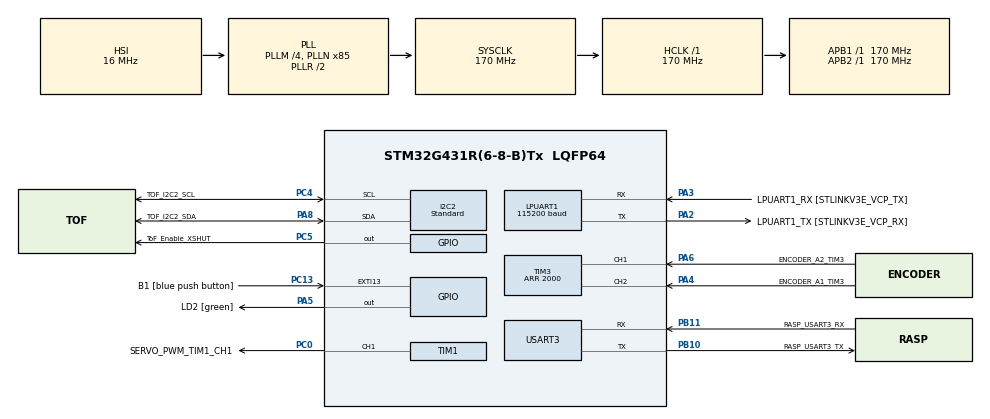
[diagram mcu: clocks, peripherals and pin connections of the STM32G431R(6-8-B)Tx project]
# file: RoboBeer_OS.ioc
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FREERTOS.MEMORY_ALLOCATION=0
FREERTOS.Tasks01=defaultTask,0,128,StartDefaultTask,Default,NULL,Dynamic,NULL,NULL
FREERTOS.configCHECK_FOR_STACK_OVERFLOW=0
FREERTOS.configLIBRARY_MAX_SYSCALL_INTERRUPT_PRIORITY=8
FREERTOS.configMAX_TASK_NAME_LEN=32
FREERTOS.configMINIMAL_STACK_SIZE=128
FREERTOS.configTOTAL_HEAP_SIZE=16384
I2C2.I2C_Speed_Mode=I2C_Standard
I2C2.Timing=0x30A0A7FB
LPUART1.BaudRate=115200
LPUART1.WordLength=UART_WORDLENGTH_8B
Mcu.Family=STM32G4
Mcu.Name=STM32G431R(6-8-B)Tx
Mcu.Package=LQFP64
NVIC.LPUART1_IRQn=true\:8\:0\:false\:false\:true\:true\:true\:true\:true
NVIC.PriorityGroup=NVIC_PRIORITYGROUP_4
NVIC.USART3_IRQn=true\:8\:0\:false\:false\:true\:true\:true\:true\:true
PA13.GPIO_Label=T_SWDIO
PA13.Mode=Serial_Wire
PA13.Signal=SYS_JTMS-SWDIO
PA14.GPIO_Label=T_SWCLK
PA14.Mode=Serial_Wire
PA14.Signal=SYS_JTCK-SWCLK
PA2.GPIO_Label=LPUART1_TX [STLINKV3E_VCP_RX]
PA2.Mode=Asynchronous
PA2.Signal=LPUART1_TX
PA3.GPIO_Label=LPUART1_RX [STLINKV3E_VCP_TX]
PA3.Mode=Asynchronous
PA3.Signal=LPUART1_RX
PA4.GPIO_Label=ENCODER_A1_TIM3
PA4.Signal=S_TIM3_CH2
PA5.GPIO_Label=LD2 [green]
PA5.Signal=GPIO_Output
PA6.GPIO_Label=ENCODER_A2_TIM3
PA6.Signal=S_TIM3_CH1
PA8.GPIO_Label=TOF_I2C2_SDA
PA8.Mode=I2C
PA8.Signal=I2C2_SDA
PB10.GPIO_Label=RASP_USART3_TX
PB10.Mode=Asynchronous
PB10.Signal=USART3_TX
PB11.GPIO_Label=RASP_USART3_RX
PB11.Mode=Asynchronous
PB11.Signal=USART3_RX
PB3.GPIO_Label=T_SWO
PB3.Signal=SYS_JTDO-SWO
PC0.GPIO_Label=SERVO_PWM_TIM1_CH1
PC0.Signal=S_TIM1_CH1
PC13.GPIO_Label=B1 [blue push button]
PC13.Signal=GPXTI13
PC14-OSC32_IN.Mode=LSE-External-Oscillator
PC14-OSC32_IN.Signal=RCC_OSC32_IN
PC15-OSC32_OUT.Mode=LSE-External-Oscillator
PC15-OSC32_OUT.Signal=RCC_OSC32_OUT
PC4.GPIO_Label=TOF_I2C2_SCL
PC4.Mode=I2C
PC4.Signal=I2C2_SCL
PC5.GPIO_Label=ToF_Enable_XSHUT
PC5.Signal=GPIO_Output
PF0-OSC_IN.Mode=HSE-External-Oscillator
PF0-OSC_IN.Signal=RCC_OSC_IN
PF1-OSC_OUT.Mode=HSE-External-Oscillator
PF1-OSC_OUT.Signal=RCC_OSC_OUT
ProjectManager.HeapSize=0x200
ProjectManager.StackSize=0x400
ProjectManager.TargetToolchain=STM32CubeIDE
RCC.ADC12Freq_Value=170000000
RCC.AHBFreq_Value=170000000
RCC.APB1Freq_Value=170000000
RCC.APB1TimFreq_Value=170000000
RCC.APB2Freq_Value=170000000
RCC.APB2TimFreq_Value=170000000
RCC.CortexFreq_Value=170000000
RCC.EXTERNAL_CLOCK_VALUE=12288000
RCC.HCLKFreq_Value=170000000
RCC.HSE_VALUE=24000000
RCC.HSI48_VALUE=48000000
RCC.HSI_VALUE=16000000
RCC.PLLM=RCC_PLLM_DIV4
RCC.PLLN=85
RCC.RTCClockSelection=RCC_RTCCLKSOURCE_LSE
RCC.SYSCLKFreq_VALUE=170000000
RCC.SYSCLKSource=RCC_SYSCLKSOURCE_PLLCLK
RCC.USBFreq_Value=170000000
RCC.VCOOutputFreq_Value=340000000
SH.S_TIM1_CH1.0=TIM1_CH1,PWM Generation1 CH1
SH.S_TIM3_CH1.0=TIM3_CH1,Encoder_Interface
SH.S_TIM3_CH2.0=TIM3_CH2,Encoder_Interface
TIM1.Channel-PWM\ Generation1\ CH1=TIM_CHANNEL_1
TIM1.PeriodNoDither=20000-1
TIM1.Prescaler=170-1
TIM3.EncoderMode=TIM_ENCODERMODE_TI12
TIM3.PeriodNoDither=2000
USART3.VirtualMode-Asynchronous=VM_ASYNC
VP_FREERTOS_VS_CMSIS_V1.Mode=CMSIS_V1
VP_SYS_VS_DBSignals.Mode=DisableDeadBatterySignals
VP_TIM1_VS_ClockSourceINT.Mode=Internal
VP_TIM2_VS_ClockSourceINT.Mode=Internal
board=NUCLEO-G431RB

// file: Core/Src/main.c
/* USER CODE BEGIN Header */
/**
  ******************************************************************************
  * @file           : main.c
  * @brief          : Main program body
  ******************************************************************************
  * @attention
  *
  * Copyright (c) 2022 STMicroelectronics.
  * All rights reserved.
  *
  * This software is licensed under terms that can be found in the LICENSE file
  * in the root directory of this software component.
  * If no LICENSE file comes with this software, it is provided AS-IS.
  *
  ******************************************************************************
  */
/* USER CODE END Header */
#include "main.h"
#include "cmsis_os.h"
#include "i2c.h"
#include "usart.h"
#include "tim.h"
#include "gpio.h"

/* USER CODE BEGIN Includes */
#include <FreeRTOS.h>
#include <stdio.h>
#include <stdlib.h>
#include <string.h>
#include "driver_ToF.h"
/* USER CODE END Includes */

/* USER CODE BEGIN PD */

#define STACK_SIZE 1000
#define MAX_S_Time 300

#define DELAY_1 10
#define DELAY_2 10
#define DELAY_3 50
#define DELAY_4 20

#define Code_Priority 2
#define PRIORITY_ENCODER 5
#define PRIORITY_TOF 7
#define PRIORITY_RASP 3
#define PRIORITY_SERVO 1

#define SERVO_OPEN 500
#define SERVO_CLOSED 2500

#define RASP_UART_TO 300
/* USER CODE END PD */

/* USER CODE BEGIN PV */

BaseType_t xReturned;
TaskHandle_t xHandle1 = NULL;
TaskHandle_t xHandle2 = NULL;

/*
 * These are the private variables for the Encoder
 */
BaseType_t xReturned_Encoder;
TaskHandle_t xHandle_Encoder = NULL;

/*
 * These are the private variables for the TOF
 */
BaseType_t xReturned_TofGetDistance;
TaskHandle_t xHandle_TofGetDistance = NULL;

int it_tim3=0;
uint16_t servo_angle=0;

BaseType_t xReturned_RASP;
TaskHandle_t xHandle_RASP = NULL;
SemaphoreHandle_t semaphoreRASP;

BaseType_t xReturned_ControlServo;
TaskHandle_t xHandle_ControlServo = NULL;

/* USER CODE END PV */

void SystemClock_Config(void);
void MX_FREERTOS_Init(void);
/* USER CODE BEGIN PFP */

/*Normal functions*/
void ControlServo(int angle);

/*Task Functions*/
void codeTache (void * pvParameters);
void GetEncoderValue(void * pvParameters);
void TofGetDistance(void * pvParameters);
void RaspRead (void * pvParameters);

/* USER CODE END PFP */

/* USER CODE BEGIN 0 */

/**
  * @brief  Period elapsed callback in non-blocking mode
  * @param  htim TIM handle
  * @retval None
  */
void HAL_TIM_PeriodElapsedCallback(TIM_HandleTypeDef *htim)
{
	if (htim->Instance == htim3.Instance) {
		it_tim3=1;
	}
}

int __io_putchar(int ch) {
	HAL_UART_Transmit(&hlpuart1, (uint8_t *)&ch, 1, MAX_S_Time);
	return ch;
}

void codeTache (void * pvParameters) {
	int compteur = 0;
	int duree = (int) pvParameters;
	char* s = pcTaskGetName(xTaskGetCurrentTaskHandle());
	while (1) {
		printf("Je suis la tache %s et je m'endors pour %d periodes\n", s, duree);
		vTaskDelay(duree);
		compteur++;
	}
}

/*
 * Task taht would go get the TOF value.
 * Send it via UART or printf
 * Task Delay of DELAY_TOF
 */
void TofGetDistance(void * pvParameters)
{
	printf("Ici init TOF\r\n");
	int distance;
	int duree = (int) pvParameters;
	while(1){
		distance = tofReadDistance();//scan
		printf("distance : %d\r\n", distance);
		if (distance <60){
			ControlServo(SERVO_OPEN);
		}else{
			ControlServo(SERVO_CLOSED);
		}
		vTaskDelay(duree);
	}
}

/*
 * Task that would go get the encoder value from the counter of the TIM3.
 * Transmit value via UART
 * Task Delay 1 OS tick = 1ms.
 * */
void GetEncoderValue(void * pvParameters){
	printf("Ici init Encodeur\r\n");
	uint16_t angle;
	int duree = (int) pvParameters;
	while(1){
		angle = (TIM3->CNT);
		printf("Encoder Ticks = %d\n\r", angle);
		vTaskDelay(duree);
	}
}

/*
 * Function to control the servo motor
 */
void ControlServo(int angle){
	TIM1 -> CCR1 = angle;
	it_tim3=0;
}

void RaspRead (void * pvParameters) {
	uint8_t MSG_Buffer[200] = {'\0'};
	int duree = (int) pvParameters;
	while (1) {
		xSemaphoreTake(semaphoreRASP,RASP_UART_TO);
		HAL_UART_Receive(&huart3, MSG_Buffer, sizeof(MSG_Buffer),RASP_UART_TO);
		printf("%s\r\n", MSG_Buffer);
		xSemaphoreGive(semaphoreRASP);
		vTaskDelay(duree);
	}
}

/* USER CODE END 0 */

int main(void)
{

  /* MCU Configuration--------------------------------------------------------*/

  /* Reset of all peripherals, Initializes the Flash interface and the Systick. */
  HAL_Init();

  /* Configure the system clock */
  SystemClock_Config();

  /* Initialize all configured peripherals */
  MX_GPIO_Init();
  MX_LPUART1_UART_Init();
  MX_I2C2_Init();
  MX_TIM3_Init();
  MX_TIM2_Init();
  MX_USART3_UART_Init();
  MX_TIM1_Init();
  /* USER CODE BEGIN 2 */
  HAL_TIM_PWM_Start(&htim1, TIM_CHANNEL_1);
  HAL_TIM_Encoder_Start(&htim3, TIM_CHANNEL_ALL);
  initTof();

  /* Create the task, storing the handle. */
  /*
  printf("1 \r\n");
  xReturned_Encoder = xTaskCreate(
		  GetEncoderValue, 				// Function that implements the task.
		  "Encodeur", 					// Text name for the task.
		  STACK_SIZE, 					// Stack size in words, not bytes.
		  (void *) DELAY_1, 			// Parameter passed into the task.
		  PRIORITY_ENCODER,				// Priority at which the task is created.
		  &xHandle_Encoder ); 			// Used to pass out the created task's handle.

  if (xReturned_Encoder == pdPASS ){
	  printf("Task GetEncoderValue created \r\n");
  } else{
		printf("ERROR GetEncoderValue not created \r\n");
		while(1){}
  }

*/

  printf("2 \r\n");
  xReturned_TofGetDistance = xTaskCreate(
		  TofGetDistance, 				// Function that implements the task.
		  "TOF", 						// Text name for the task.
		  STACK_SIZE, 					// Stack size in words, not bytes.
		  (void *) DELAY_2, 			// Parameter passed into the task.
		  PRIORITY_TOF,					// Priority at which the task is created.
		  &xHandle_TofGetDistance );	// Used to pass out the created task's handle.

  if(xReturned_TofGetDistance == pdPASS){
	  printf("Task TofGetDistance created \r\n");
  } else{
	printf("ERROR TofGetDistance NOT created \r\n");
	while(1){}
  }

/*
  xReturned_ControlServo = xTaskCreate(
		  ControlServo, 				// Function that implements the task.
		  "ServoMotor", 						// Text name for the task.
		  STACK_SIZE, 					// Stack size in words, not bytes.
		  (int *) servo_angle, 			// Parameter passed into the task.
		  PRIORITY_SERVO,					// Priority at which the task is created.
		  &xHandle_ControlServo );	// Used to pass out the created task's handle.

  if(xReturned_ControlServo == pdPASS){
	  printf("Task ControlServo created \r\n");
  } else{
	printf("ERROR ControlServo NOT created \r\n");
	while(1){}
  }
 */

  semaphoreRASP = xSemaphoreCreateBinary();
  xSemaphoreGive(semaphoreRASP);

  /*
  printf("3 \r\n");
  xReturned_RASP = xTaskCreate(
		  RaspRead, 					// Function that implements the task.
		  "Raspberry", 					// Text name for the task.
		  STACK_SIZE, 					// Stack size in words, not bytes.
		  (void *) DELAY_3, 			// Parameter passed into the task.
		  PRIORITY_RASP,				// Priority at which the task is created.
		  &xHandle_RASP ); 				// Used to pass out the created task's handle.

  if (xReturned_RASP == pdPASS ){
	  printf("Task RaspRead created \r\n");
  } else{
		printf("ERROR RaspRead not created \r\n");
		while(1){}
  }
  */

  vTaskStartScheduler();

  /* USER CODE END 2 */

  /* Call init function for freertos objects (in freertos.c) */
  MX_FREERTOS_Init();

  /* Start scheduler */
  osKernelStart();

  /* We should never get here as control is now taken by the scheduler */
  /* Infinite loop */
  while (1)
  {

  }
}

void SystemClock_Config(void)
{
  RCC_OscInitTypeDef RCC_OscInitStruct = {0};
  RCC_ClkInitTypeDef RCC_ClkInitStruct = {0};

  /** Configure the main internal regulator output voltage
  */
  HAL_PWREx_ControlVoltageScaling(PWR_REGULATOR_VOLTAGE_SCALE1_BOOST);

  /** Initializes the RCC Oscillators according to the specified parameters
  * in the RCC_OscInitTypeDef structure.
  */
  RCC_OscInitStruct.OscillatorType = RCC_OSCILLATORTYPE_HSI;
  RCC_OscInitStruct.HSIState = RCC_HSI_ON;
  RCC_OscInitStruct.HSICalibrationValue = RCC_HSICALIBRATION_DEFAULT;
  RCC_OscInitStruct.PLL.PLLState = RCC_PLL_ON;
  RCC_OscInitStruct.PLL.PLLSource = RCC_PLLSOURCE_HSI;
  RCC_OscInitStruct.PLL.PLLM = RCC_PLLM_DIV4;
  RCC_OscInitStruct.PLL.PLLN = 85;
  RCC_OscInitStruct.PLL.PLLP = RCC_PLLP_DIV2;
  RCC_OscInitStruct.PLL.PLLQ = RCC_PLLQ_DIV2;
  RCC_OscInitStruct.PLL.PLLR = RCC_PLLR_DIV2;
  if (HAL_RCC_OscConfig(&RCC_OscInitStruct) != HAL_OK)
  {
    Error_Handler();
  }

  /** Initializes the CPU, AHB and APB buses clocks
  */
  RCC_ClkInitStruct.ClockType = RCC_CLOCKTYPE_HCLK|RCC_CLOCKTYPE_SYSCLK
                              |RCC_CLOCKTYPE_PCLK1|RCC_CLOCKTYPE_PCLK2;
  RCC_ClkInitStruct.SYSCLKSource = RCC_SYSCLKSOURCE_PLLCLK;
  RCC_ClkInitStruct.AHBCLKDivider = RCC_SYSCLK_DIV1;
  RCC_ClkInitStruct.APB1CLKDivider = RCC_HCLK_DIV1;
  RCC_ClkInitStruct.APB2CLKDivider = RCC_HCLK_DIV1;

  if (HAL_RCC_ClockConfig(&RCC_ClkInitStruct, FLASH_LATENCY_4) != HAL_OK)
  {
    Error_Handler();
  }
}

void Error_Handler(void)
{
  __disable_irq();
  while (1)
  {
  }
}

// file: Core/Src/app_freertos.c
/* USER CODE BEGIN Header */
/**
  ******************************************************************************
  * File Name          : app_freertos.c
  * Description        : Code for freertos applications
  ******************************************************************************
  * @attention
  *
  * Copyright (c) 2022 STMicroelectronics.
  * All rights reserved.
  *
  * This software is licensed under terms that can be found in the LICENSE file
  * in the root directory of this software component.
  * If no LICENSE file comes with this software, it is provided AS-IS.
  *
  ******************************************************************************
  */
/* USER CODE END Header */

#include "FreeRTOS.h"
#include "task.h"
#include "main.h"
#include "cmsis_os.h"

osThreadId defaultTaskHandle;

void StartDefaultTask(void const * argument);

void MX_FREERTOS_Init(void); /* (MISRA C 2004 rule 8.1) */

void MX_FREERTOS_Init(void) {

  /* Create the thread(s) */
  /* definition and creation of defaultTask */
  osThreadDef(defaultTask, StartDefaultTask, osPriorityNormal, 0, 128);
  defaultTaskHandle = osThreadCreate(osThread(defaultTask), NULL);

}

void StartDefaultTask(void const * argument)
{
  for(;;)
  {
    osDelay(1);
  }
}
